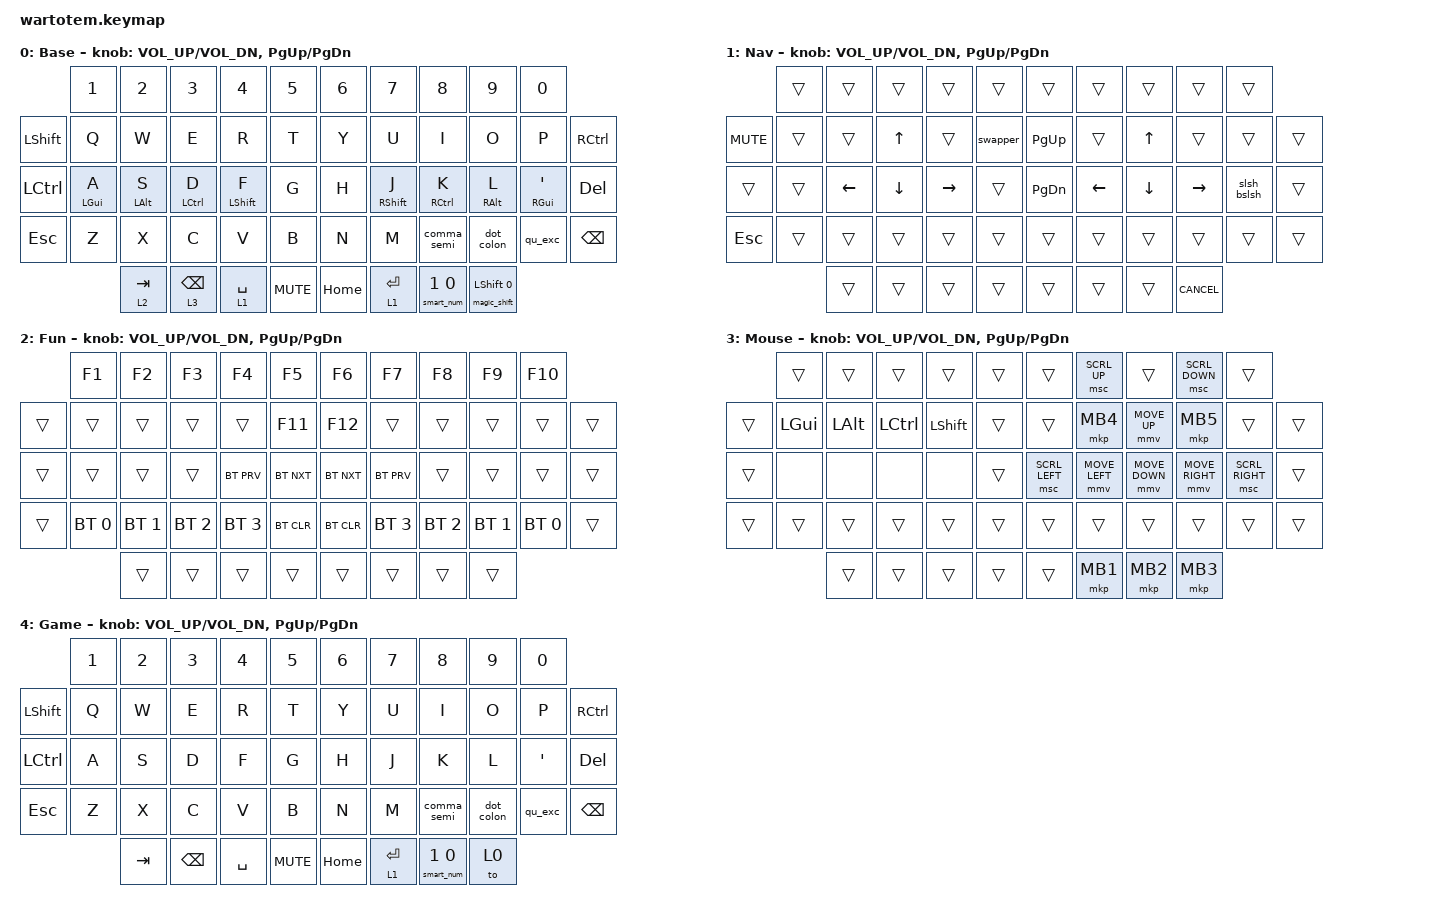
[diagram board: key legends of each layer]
#include <behaviors.dtsi>
#include <dt-bindings/zmk/keys.h>
#include <dt-bindings/zmk/bt.h>
#include <dt-bindings/zmk/outputs.h>
#include <behaviors/num_word.dtsi>
#include <dt-bindings/zmk/pointing.h>

#include "zmk-helpers/helper.h"
#include "behaviors/combos.dtsi"

// DEFINE LAYERS
#define Base        0
#define Nav		    1
#define Fun		    2
#define Mouse		3
#define Game		4


// DEFINE Trans/None behavior
#define ___ &trans
#define XXX &none

#define QUICK_TAP_MS 175



/* Home Row Mods */
		#define KEYS_L 0 1 2 3 4 10 11 12 13 14 15 22 23 24 25 26 27 34 35 36 37 38 39	// left-hand keys
		#define KEYS_R 5 6 7 8 9 16 17 18 19 20 21 28 29 30 31 32 33 40 41 42 43 44 45	// right-hand keys
		#define THUMBS 46 47 48 49 50 51 52 53											// thumb keys


#define MAKE_HRM(NAME, HOLD, TAP, TRIGGER_POS)                                 \
  ZMK_HOLD_TAP(NAME, bindings = <HOLD>, <TAP>; flavor = "balanced";            \
               tapping-term-ms = <280>; quick-tap-ms = <QUICK_TAP_MS>;         \
               require-prior-idle-ms = <150>; hold-trigger-on-release;         \
               hold-trigger-key-positions = <TRIGGER_POS>;)

MAKE_HRM(hml, &kp, &kp, KEYS_R THUMBS) // Left-hand HRMs.
MAKE_HRM(hmr, &kp, &kp, KEYS_L THUMBS) // Right-hand HRMs.


// Trigger tap-action on all interrupts - Nav cluster
#define MT_CORE                                                                \
  flavor = "tap-preferred";                                                    \
  tapping-term-ms = <220>;                                                     \
  quick-tap-ms = <220>;                                                        \
  hold-trigger-key-positions = <0>;

&mt { MT_CORE };

ZMK_HOLD_TAP(mt_home, bindings = <&masked_home>, <&kp>; MT_CORE)
ZMK_HOLD_TAP(mt_end, bindings = <&masked_end>, <&kp>; MT_CORE)


#define ZMK_COMBO_8(NAME, TAP, POS, LAYERS, COMBO_MS, IDLE_MS, HOLD, SIDE)     \
  MAKE_HRM(hm_combo_##NAME, &kp, TAP, SIDE THUMBS)                             \
  ZMK_COMBO_6(NAME, &hm_combo_##NAME HOLD 0, POS, LAYERS, COMBO_MS, IDLE_MS)

// Mask CTRL on left/right hold to avoid accidental jumps to start/end of doc.
#define MASK_MODS(NAME, MODS, BINDING)                                         \
  ZMK_MOD_MORPH(NAME, bindings = <BINDING>, <BINDING>; mods = <MODS>;)

MASK_MODS(masked_home, (MOD_LCTL), &kp HOME)
MASK_MODS(masked_end,  (MOD_LCTL), &kp END)


&lt {
    tapping-term-ms = <240>;
    flavor = "balanced";
    quick-tap-ms = <150>;
};

&msc {
    acceleration-exponent=<1>;
    delay-ms=<70>;
    time-to-max-speed-ms = <200>;
};

&mmv {
    acceleration-exponent=<0>;
    delay-ms=<60>;
    time-to-max-speed-ms = <200>;
};

// Misc aliases
#define CANCEL    &kp K_CANCEL            			// Cancel caps-word & auto-layers.
#define DSK_PREV  &hmr LCTRL LG(LC(LEFT)) 			// Previous desktop.
#define DSK_NEXT  &hmr LALT LG(LC(RIGHT)) 			// Next desktop.
#define PIN_WIN   &kp LG(LC(LS(Q)))       			// Pin window across desktops.
#define PIN_APP   &kp LG(LC(LS(A)))       			// Pin application across desktops.


/* Magic-shift & auto-layers */

// Tap: repeat after alpha, else sticky-shift |
// Shift + tap/ double-tap: caps-word | Hold: shift.
	#define MAGIC_SHIFT &magic_shift LSHFT 0
		ZMK_HOLD_TAP(magic_shift, bindings = <&kp>, <&magic_shift_tap>;
             flavor = "balanced"; tapping-term-ms = <200>;
             quick-tap-ms = <QUICK_TAP_MS>;)
	
	ZMK_MOD_MORPH(magic_shift_tap, bindings = <&shift_repeat>, <&caps_word>;
              mods = <(MOD_LSFT)>;)

	ZMK_ADAPTIVE_KEY(
    	shift_repeat, bindings = <&sk LSHFT>;
    	repeat {
      		trigger-keys = <A B C D E F G H I J K L M N O P Q R S T U V W X Y Z>;
      		bindings = <&key_repeat>;
      		max-prior-idle-ms = <1200>;
      		strict-modifiers;
    	};)

// Mods deactivate caps-word, requires PR #1451. [TODO: rebase]
	&caps_word { 
  		/delete-property/ ignore-modifiers;
	};

// Tap: num-word | double-tap: sticky num-layer | Hold: num-layer.
	#define SMART_NUM &smart_num 1 0
	ZMK_HOLD_TAP(smart_num, bindings = <&mo>, <&num_dance>; flavor = "balanced";
            tapping-term-ms = <200>; quick-tap-ms = <QUICK_TAP_MS>;)
	ZMK_TAP_DANCE(num_dance, bindings = <&num_word 1>, <&sl 1>;
			tapping-term-ms = <200>;)

// Smart-mouse, requires tri-state module.
	ZMK_TRI_STATE(
    	smart_mouse, bindings = <&tog 3>, <&none>, <&tog 3>;
    	ignored-key-positions =
        	<3 2 34 33 6 7 8 15 16 17 18 19 27 28 29 35 36>;
    	ignored-layers = <1 2 3>;)

/* Custom behaviors */
// Alt+Tab swapper, requires tri-state module.
	ZMK_TRI_STATE(swapper, bindings = <&kt LALT>, <&kp TAB>, <&kt LALT>;
            ignored-key-positions = <2 7 16 17 18>;)

// Define mod-morph with a *single* mod trigger for less repetition.
	#define SIMPLE_MORPH(NAME, MOD, BINDING1, BINDING2)                            \
  		ZMK_MOD_MORPH(NAME, mods = <(MOD_L##MOD | MOD_R##MOD)>;                      \
                bindings = <BINDING1>, <BINDING2>;)

// Tap: comma | Shift + tap: semicolon | Ctrl + shift + tap: <.
	SIMPLE_MORPH(comma_morph, SFT, &kp COMMA, &comma_inner_morph)
	SIMPLE_MORPH(comma_inner_morph, CTL, &kp SEMICOLON, &kp LESS_THAN)

// Tap: dot | Shift + tap: colon | Ctrl + shift + tap: >.
	SIMPLE_MORPH(dot_morph, SFT, &kp DOT, &dot_inner_morph)
	SIMPLE_MORPH(dot_inner_morph, CTL, &kp COLON, &kp GREATER_THAN)

// Tap: qmark | Shift + tap: excl.
	SIMPLE_MORPH(qexcl, SFT, &kp QMARK, &kp EXCL)

// Tap: left/right parenthesis | Shft + tap: less-than/greater-than.
	SIMPLE_MORPH(lpar_lt, SFT, &kp LPAR, &kp LT)
	SIMPLE_MORPH(rpar_gt, SFT, &kp RPAR, &kp GT)

// Tap: space | Shift + tap: dot -> space -> sticky shift | Hold: nav layer.
	ZMK_HOLD_TAP(lt_spc, bindings = <&mo>, <&spc_morph>; flavor = "balanced";
             tapping-term-ms = <200>; quick-tap-ms = <QUICK_TAP_MS>;)
SIMPLE_MORPH(spc_morph, SFT, &kp SPACE, &dot_spc)
	ZMK_MACRO(dot_spc, bindings = <&kp DOT &kp SPACE &sk LSHFT>; wait-ms = <0>;
          tap-ms = <5>;)

// Tap: backspace | Lshft + tap: delete | Rshft + tap: shift-delete.
	ZMK_MOD_MORPH(bs_del, bindings = <&kp BSPC>, <&kp DEL>;
              mods = <(MOD_LSFT|MOD_RSFT)>; keep-mods = <MOD_RSFT>;)

// Tap: copy | double-tap: cut.
	ZMK_TAP_DANCE(copy_cut, bindings = <&kp LC(INS)>, <&kp LC(X)>;
              tapping-term-ms = <200>;)


/* Keymap */
ZMK_CONDITIONAL_LAYER(sys, 2 1, 8)

/ {
		behaviors {

			dot_colon: dot_colon {
            	compatible = "zmk,behavior-mod-morph";
            	#binding-cells = <0>;
            	bindings = <&kp DOT>, <&kp COLON>;
            	mods = <(MOD_LSFT|MOD_RSFT)>;
        	};

			comma_semi: comma_semi {
            	compatible = "zmk,behavior-mod-morph";
            	#binding-cells = <0>;
            	bindings = <&kp COMMA>, <&kp SEMI>;
            	mods = <(MOD_LSFT|MOD_RSFT)>;
        	};

			qu_exc: qu_exc {
            	compatible = "zmk,behavior-mod-morph";
            	#binding-cells = <0>;
            	bindings = <&kp QUESTION>, <&kp EXCLAMATION>;
            	mods = <(MOD_LSFT|MOD_RSFT)>;
        	};

		// tap: backspace | shift + tap: delete
			bspc_del: backspace_delete {
				compatible = "zmk,behavior-mod-morph";
				#binding-cells = <0>;
				bindings = <&kp BSPC>, <&kp DEL>;
				mods = <(MOD_LSFT|MOD_RSFT)>;
			};

		// tap: slash | shift + tap: backslash
			slsh_bslsh: slsh_bslsh {
				compatible = "zmk,behavior-mod-morph";
				#binding-cells = <0>;
				bindings = <&kp FSLH>, <&kp BSLH>;
				mods = <(MOD_LSFT|MOD_RSFT)>;
			};

		};

    keymap {
        compatible = "zmk,keymap";

        Base {
            display-name = "Base";
            bindings = <
//				--------------------------------------		-----------------------------------------			
                &kp N1  &kp N2  &kp N3  &kp N4  &kp N5  	 &kp N6  &kp N7  &kp N8  &kp N9  &kp N0
//		----------------------------------------------		--------------------------------------------------
       &kp LSHFT  &kp Q   &kp W   &kp E   &kp R   &kp T   	 &kp Y  &kp U   &kp I   &kp O   &kp P   &kp RCTRL
//		----------------------------------------------		--------------------------------------------------
       &kp LCTRL &hml LGUI A &hml LALT S &hml LCTRL D &hml LSHFT F &kp G &kp H  &hmr RSHFT J &hmr RCTRL K &hmr RALT L &hmr RGUI SQT &kp DEL
//		----------------------------------------------		--------------------------------------------------
       &kp ESC   &kp Z   &kp X   &kp C   &kp V   &kp B  	 &kp N  &kp M  &comma_semi  &dot_colon  &qu_exc  &kp BSPC
//		-----------------------------------------------		-------------------------------------------------
		&lt 2 TAB  &lt 3 BSPC  &lt 1 SPACE  &kp C_MUTE  	 	&kp HOME  &lt 1 RET  SMART_NUM  MAGIC_SHIFT
//				         ------------------------------		----------------------------
            >;
            sensor-bindings = <&inc_dec_kp C_VOL_UP C_VOL_DN &inc_dec_kp PG_UP PG_DN>;
        };
		
		Nav {
            display-name = "Nav";
            bindings = <
//				--------------------------------------		-----------------------------------------			
					___	   ___    ___    ___    ___  	 	  ___    ___    ___    ___    ___
//		----------------------------------------------		--------------------------------------------------
       &kp C_MUTE  ___   ___   &kp UP   ___   &swapper   	 &kp PG_UP   ___   &kp UP   ___   ___   ___
//		----------------------------------------------		--------------------------------------------------
       ___   ___  &kp LEFT  &kp DOWN   &kp RIGHT  ___ 	 	 &kp PG_DN   &kp LEFT   &kp DOWN   &kp RIGHT   &slsh_bslsh   ___
//		----------------------------------------------		--------------------------------------------------
       &kp ESC   ___    ___    ___    ___    ___  			  ___    ___    ___    ___    ___   ___
//		-----------------------------------------------		-------------------------------------------------
						  ___   ___   ___   ___  			  ___    ___    ___    CANCEL
//				         ------------------------------		----------------------------
            >;
            sensor-bindings = <&inc_dec_kp C_VOL_UP C_VOL_DN &inc_dec_kp PG_UP PG_DN>;
        };
		
		Fun {
            display-name = "Fun";
            bindings = <
//				--------------------------------------		-----------------------------------------			
               &kp F1  &kp F2   &kp F3  &kp F4  &kp F5	 	 &kp F6  &kp F7  &kp F8  &kp F9  &kp F10
//		----------------------------------------------		--------------------------------------------------
			___    ___    ___    ___    ___    &kp F11   	 &kp F12  ___    ___    ___    ___    ___
//		----------------------------------------------		--------------------------------------------------
			___    ___    ___    ___    &bt BT_PRV  &bt BT_NXT  	     &bt BT_NXT	  &bt BT_PRV 		   ___    ___    ___    ___
//		----------------------------------------------		--------------------------------------------------
      	___  &bt BT_SEL 0  &bt BT_SEL 1  &bt BT_SEL 2  &bt BT_SEL 3  &bt BT_CLR  &bt BT_CLR  &bt BT_SEL 3  &bt BT_SEL 2  &bt BT_SEL 1  &bt BT_SEL 0  ___
//		-----------------------------------------------		-------------------------------------------------
							___   ___   ___   ___  			  ___    ___    ___    ___
//				         ------------------------------		----------------------------
            >;
            sensor-bindings = <&inc_dec_kp C_VOL_UP C_VOL_DN &inc_dec_kp PG_UP PG_DN>;
        };
		
		Mouse {
            display-name = "Mouse";
            bindings = <
//				--------------------------------------		-----------------------------------------			
                 ___    ___    ___    ___    ___   				___  &msc SCRL_UP  ___  &msc SCRL_DOWN   ___
//		----------------------------------------------		--------------------------------------------------
      ___  &kp LGUI  &kp LALT  &kp LCTRL  &kp LSHFT  ___     ___   &mkp MB4   &mmv MOVE_UP   &mkp MB5   ___   ___
//		----------------------------------------------		--------------------------------------------------
         ___   XXX   XXX   XXX   XXX   ___     	 			&msc SCRL_LEFT  &mmv MOVE_LEFT  &mmv MOVE_DOWN  &mmv MOVE_RIGHT  &msc SCRL_RIGHT   ___
//		----------------------------------------------		--------------------------------------------------
      	    ___    ___    ___    ___    ___    ___   	     ___    ___    ___    ___    ___    ___
//		-----------------------------------------------		-------------------------------------------------
							___   ___   ___   ___  			  ___  &mkp MB1  &mkp MB2  &mkp MB3
//				         ------------------------------		----------------------------
            >;
            sensor-bindings = <&inc_dec_kp C_VOL_UP C_VOL_DN &inc_dec_kp PG_UP PG_DN>;
        };

		Game {
            display-name = "Game";
            bindings = <
//				--------------------------------------		-----------------------------------------			
                &kp N1  &kp N2  &kp N3  &kp N4  &kp N5  	 &kp N6  &kp N7  &kp N8  &kp N9  &kp N0
//		----------------------------------------------		--------------------------------------------------
       &kp LSHFT  &kp Q   &kp W   &kp E   &kp R   &kp T   	 &kp Y  &kp U   &kp I   &kp O   &kp P   &kp RCTRL
//		----------------------------------------------		--------------------------------------------------
       &kp LCTRL &kp A &kp S  &kp D &kp F &kp G 			&kp H  &kp J &kp K &kp L &kp SQT &kp DEL
//		----------------------------------------------		--------------------------------------------------
       &kp ESC   &kp Z   &kp X   &kp C   &kp V   &kp B  	 &kp N  &kp M  &comma_semi  &dot_colon  &qu_exc  &kp BSPC
//		-----------------------------------------------		-------------------------------------------------
		&kp TAB  &kp BSPC  &kp SPACE  &kp C_MUTE  	 		&kp HOME  &lt 1 RET  SMART_NUM  &to 0
//				         ------------------------------		----------------------------
            >;
            sensor-bindings = <&inc_dec_kp C_VOL_UP C_VOL_DN &inc_dec_kp PG_UP PG_DN>;
        };
		
		
		
    };
};
